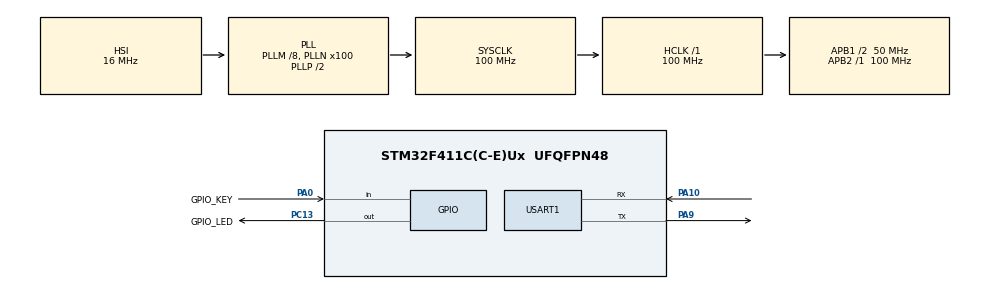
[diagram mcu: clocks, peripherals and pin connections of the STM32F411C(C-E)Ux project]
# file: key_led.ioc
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FREERTOS.Tasks01=key_task,24,128,key_task_func,Default,NULL,Dynamic,NULL,NULL;blink_task,9,128,blink_task_func,Default,NULL,Dynamic,NULL,NULL
Mcu.Family=STM32F4
Mcu.Name=STM32F411C(C-E)Ux
Mcu.Package=UFQFPN48
NVIC.PriorityGroup=NVIC_PRIORITYGROUP_4
NVIC.TIM1_UP_TIM10_IRQn=true\:15\:0\:false\:false\:true\:false\:false\:true\:true
NVIC.TimeBase=TIM1_UP_TIM10_IRQn
NVIC.TimeBaseIP=TIM10
PA0-WKUP.GPIO_Label=GPIO_KEY
PA0-WKUP.GPIO_PuPd=GPIO_PULLUP
PA0-WKUP.Signal=GPIO_Input
PA10.Mode=Asynchronous
PA10.Signal=USART1_RX
PA13.Mode=Serial_Wire
PA13.Signal=SYS_JTMS-SWDIO
PA14.Mode=Serial_Wire
PA14.Signal=SYS_JTCK-SWCLK
PA9.Mode=Asynchronous
PA9.Signal=USART1_TX
PC13-ANTI_TAMP.GPIO_Label=GPIO_LED
PC13-ANTI_TAMP.PinState=GPIO_PIN_SET
PC13-ANTI_TAMP.Signal=GPIO_Output
ProjectManager.HeapSize=0x200
ProjectManager.StackSize=0x400
ProjectManager.TargetToolchain=MDK-ARM V5.32
RCC.48MHZClocksFreq_Value=50000000
RCC.AHBFreq_Value=100000000
RCC.APB1CLKDivider=RCC_HCLK_DIV2
RCC.APB1Freq_Value=50000000
RCC.APB1TimFreq_Value=100000000
RCC.APB2Freq_Value=100000000
RCC.APB2TimFreq_Value=100000000
RCC.CortexFreq_Value=100000000
RCC.HCLKFreq_Value=100000000
RCC.HSE_VALUE=25000000
RCC.HSI_VALUE=16000000
RCC.LSE_VALUE=32768
RCC.PLLM=8
RCC.PLLN=100
RCC.SYSCLKFreq_VALUE=100000000
RCC.SYSCLKSource=RCC_SYSCLKSOURCE_PLLCLK
RCC.VCOOutputFreq_Value=200000000
USART1.VirtualMode=VM_ASYNC
VP_FREERTOS_VS_CMSIS_V2.Mode=CMSIS_V2
VP_SYS_VS_tim10.Mode=TIM10
board=custom

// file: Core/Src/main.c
/* USER CODE BEGIN Header */
/**
  ******************************************************************************
  * @file           : main.c
  * @brief          : Main program body
  ******************************************************************************
  * @attention
  *
  * Copyright (c) 2026 STMicroelectronics.
  * All rights reserved.
  *
  * This software is licensed under terms that can be found in the LICENSE file
  * in the root directory of this software component.
  * If no LICENSE file comes with this software, it is provided AS-IS.
  *
  ******************************************************************************
  */
/* USER CODE END Header */
#include "main.h"
#include "cmsis_os.h"
#include "usart.h"
#include "gpio.h"

/* USER CODE BEGIN Includes */

#include "bsp_key.h"
#include "bsp_led.h"

/* USER CODE END Includes */

void SystemClock_Config(void);
void MX_FREERTOS_Init(void);

int main(void)
{

  /* MCU Configuration--------------------------------------------------------*/

  /* Reset of all peripherals, Initializes the Flash interface and the Systick. */
  HAL_Init();

  /* Configure the system clock */
  SystemClock_Config();

  /* Initialize all configured peripherals */
  MX_GPIO_Init();
  MX_USART1_UART_Init();

  /* Init scheduler */
  osKernelInitialize();  /* Call init function for freertos objects (in freertos.c) */
  MX_FREERTOS_Init();

  /* Start scheduler */
  osKernelStart();
  /* We should never get here as control is now taken by the scheduler */
  /* Infinite loop */
  while (1)
  {

  }
}

void SystemClock_Config(void)
{
  RCC_OscInitTypeDef RCC_OscInitStruct = {0};
  RCC_ClkInitTypeDef RCC_ClkInitStruct = {0};

  /** Configure the main internal regulator output voltage
  */
  __HAL_RCC_PWR_CLK_ENABLE();
  __HAL_PWR_VOLTAGESCALING_CONFIG(PWR_REGULATOR_VOLTAGE_SCALE1);

  /** Initializes the RCC Oscillators according to the specified parameters
  * in the RCC_OscInitTypeDef structure.
  */
  RCC_OscInitStruct.OscillatorType = RCC_OSCILLATORTYPE_HSI;
  RCC_OscInitStruct.HSIState = RCC_HSI_ON;
  RCC_OscInitStruct.HSICalibrationValue = RCC_HSICALIBRATION_DEFAULT;
  RCC_OscInitStruct.PLL.PLLState = RCC_PLL_ON;
  RCC_OscInitStruct.PLL.PLLSource = RCC_PLLSOURCE_HSI;
  RCC_OscInitStruct.PLL.PLLM = 8;
  RCC_OscInitStruct.PLL.PLLN = 100;
  RCC_OscInitStruct.PLL.PLLP = RCC_PLLP_DIV2;
  RCC_OscInitStruct.PLL.PLLQ = 4;
  if (HAL_RCC_OscConfig(&RCC_OscInitStruct) != HAL_OK)
  {
    Error_Handler();
  }

  /** Initializes the CPU, AHB and APB buses clocks
  */
  RCC_ClkInitStruct.ClockType = RCC_CLOCKTYPE_HCLK|RCC_CLOCKTYPE_SYSCLK
                              |RCC_CLOCKTYPE_PCLK1|RCC_CLOCKTYPE_PCLK2;
  RCC_ClkInitStruct.SYSCLKSource = RCC_SYSCLKSOURCE_PLLCLK;
  RCC_ClkInitStruct.AHBCLKDivider = RCC_SYSCLK_DIV1;
  RCC_ClkInitStruct.APB1CLKDivider = RCC_HCLK_DIV2;
  RCC_ClkInitStruct.APB2CLKDivider = RCC_HCLK_DIV1;

  if (HAL_RCC_ClockConfig(&RCC_ClkInitStruct, FLASH_LATENCY_3) != HAL_OK)
  {
    Error_Handler();
  }
}

void HAL_TIM_PeriodElapsedCallback(TIM_HandleTypeDef *htim)
{
  if (htim->Instance == TIM10) {
    HAL_IncTick();
  }
}

void Error_Handler(void)
{
  __disable_irq();
  while (1)
  {
  }
}

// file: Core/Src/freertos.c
/* USER CODE BEGIN Header */
/**
  ******************************************************************************
  * File Name          : freertos.c
  * Description        : Code for freertos applications
  ******************************************************************************
  * @attention
  *
  * Copyright (c) 2026 STMicroelectronics.
  * All rights reserved.
  *
  * This software is licensed under terms that can be found in the LICENSE file
  * in the root directory of this software component.
  * If no LICENSE file comes with this software, it is provided AS-IS.
  *
  ******************************************************************************
  */
/* USER CODE END Header */

#include "FreeRTOS.h"
#include "task.h"
#include "main.h"
#include "cmsis_os.h"

/* USER CODE BEGIN Includes */

#include "queue.h"
#include "usart.h"
#include "bsp_key.h"
#include "bsp_led.h"
#include <stdio.h>

/* USER CODE END Includes */

/* USER CODE BEGIN Variables */

QueueHandle_t key_queue;

/* USER CODE END Variables */
/* Definitions for key_task */
osThreadId_t key_taskHandle;
const osThreadAttr_t key_task_attributes = {
  .name = "key_task",
  .stack_size = 128 * 4,
  .priority = (osPriority_t) osPriorityNormal,
};
/* Definitions for blink_task */
osThreadId_t blink_taskHandle;
const osThreadAttr_t blink_task_attributes = {
  .name = "blink_task",
  .stack_size = 128 * 4,
  .priority = (osPriority_t) osPriorityLow1,
};

/* USER CODE BEGIN FunctionPrototypes */

int fputc(int ch, FILE *f)
{
  uint8_t c = ch;
  HAL_UART_Transmit(&huart1, &c, 1, HAL_MAX_DELAY);
  return ch;
}

/* USER CODE END FunctionPrototypes */

void key_task_func(void *argument);
void blink_task_func(void *argument);

void MX_FREERTOS_Init(void); /* (MISRA C 2004 rule 8.1) */

void MX_FREERTOS_Init(void) {

  /* USER CODE BEGIN RTOS_QUEUES */

  key_queue = xQueueCreate(16, sizeof(key_press_status_t));

  /* add queues, ... */
  /* USER CODE END RTOS_QUEUES */

  /* Create the thread(s) */
  /* creation of key_task */
  key_taskHandle = osThreadNew(key_task_func, NULL, &key_task_attributes);

  /* creation of blink_task */
  blink_taskHandle = osThreadNew(blink_task_func, NULL, &blink_task_attributes);

}

void key_task_func(void *argument)
{
  /* USER CODE BEGIN key_task_func */

  key_press_status_t state = KEY_NOT_PRESS;

  /* Infinite loop */
  for(;;)
  {
    if (KEY_OK != key_scan(&state))
        printf("key error!\r\n");

    if (KEY_NOT_PRESS != state)
        xQueueSend(key_queue, &state, 0);
    osDelay(1);
  }
  /* USER CODE END key_task_func */
}

void blink_task_func(void *argument)
{
  /* USER CODE BEGIN blink_task_func */

  key_press_status_t key_state = KEY_NOT_PRESS;

  /* Infinite loop */
  for(;;)
  {
    xQueueReceive(key_queue, &key_state, portMAX_DELAY);
    if (KEY_PRESS == key_state)
        led_on();
    if (KEY_LONG_PRESS == key_state)
        led_off();
  }
  /* USER CODE END blink_task_func */
}
